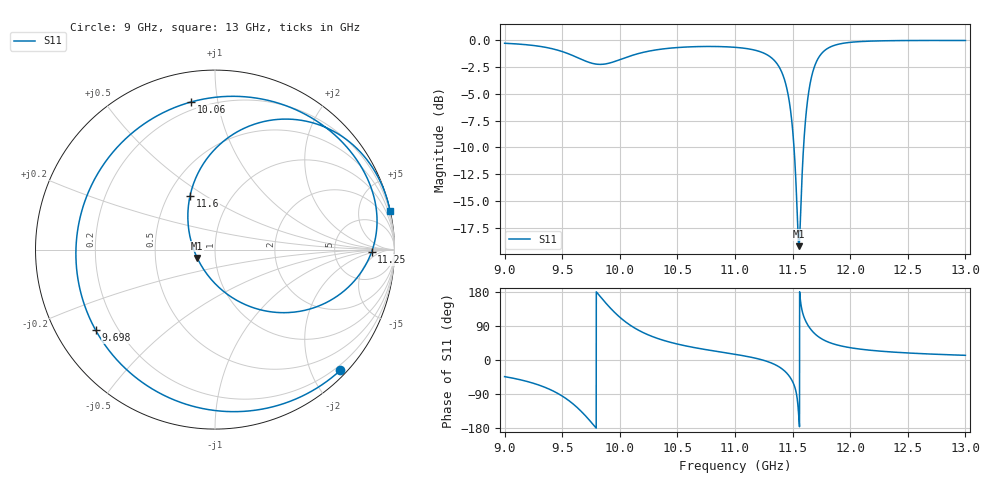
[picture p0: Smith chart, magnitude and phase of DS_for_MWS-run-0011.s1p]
! TOUCHSTONE file generated by CST DESIGN STUDIO
! Date and time: Tue Feb  4 13:35:38 2025
! Project name: C:\Work\MatlabApps\UnitCellOptimizationMatlab\CST\unitcell.cst
! Tree item: Tasks\Sweep1\SPara1\S-Parameters
! Header version: 2024
! Port assignment regex: !\s*Touchstone port\s*([0-9]+)\s*=\s*(CST MWS port|CST DES external port|CST DES block port)\s*(.+)\s* \(\"(.*)\"\)(\s*mode\s*([0-9]+))?.*
! Touchstone port assignment:
! Touchstone port 1 = CST DES external port 1 ("")
# GHz S MA R 50
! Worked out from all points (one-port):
!   4001 points, 9 GHz to 13 GHz, reference 50 ohm
!   lowest |S11| = -19.2 dB at 11.55 GHz (marker M1), VSWR 1.25, Z = 40.8 - j3.88 ohm
!   |S11| at or under -10 dB: 11.51 GHz to 11.59 GHz (82.6 MHz wide, 0.715 % of centre)
!   S11 on the Smith chart (normalised r, x): 9 GHz: 0.11, -2.48; 9.698 GHz: 0.12, -0.30; 10.06 GHz: 0.16, +0.84; 11.25 GHz: 15, -1; 11.6 GHz: 0.64, +0.43; 13 GHz: 0.05, +9.23
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9  0.9695 -43.9
9.277  0.9426 -64.0
9.5  0.8869 -95.1
9.603  0.8445 -118.1
9.698  0.8023 -145.9
9.768  0.7796 -170.0
9.834  0.7726 166.1
9.92  0.7861 136.4
10  0.8127 112.9
10.056  0.8333 99.2
10.259  0.8922 64.8
10.5  0.9259 42.1
10.725  0.9364 28.5
11  0.9282 15.0
11.248  0.8729 -0.8
11.395  0.7314 -20.5
11.457  0.5725 -37.2
11.5  0.384 -57.0
11.542  0.1458 -107.0
11.555  0.1095 -154.6
11.569  0.1527 154.6
11.597  0.3301 114.9
11.649  0.6155 84.5
11.706  0.7931 65.7
11.824  0.93 45.6
12  0.9791 32.5
12.5  0.9985 18.6
13  0.9988 12.4
